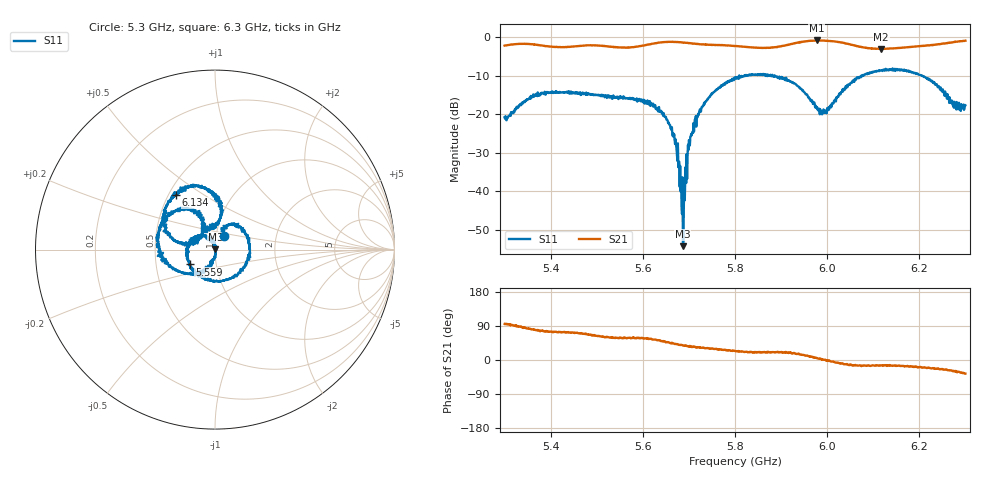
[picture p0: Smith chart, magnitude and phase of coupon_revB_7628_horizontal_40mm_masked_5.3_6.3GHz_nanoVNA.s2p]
! NanoVNA-App
! Date: 2026-11-01 22:13:03
! Start: 5,3GHz Stop: 6,3GHz Points: 1001
! S-Parameter data: F S11 S21 S12 S22
# Hz S RI R 50
!  Frequency  S11_Real  S11_Imag  S21_Real  S21_Imag  S12_Real  S12_Imag  S22_Real  S22_Imag
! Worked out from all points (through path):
!   1001 points, 5.3 GHz to 6.3 GHz, reference 50 ohm
!   highest |S21| = -0.79 dB at 5.977 GHz (marker M1); lowest = -3.0 dB at 6.117 GHz (marker M2)
!   group delay of S21, straight-line fit = 347 ps
!   lowest |S11| = -54.2 dB at 5.687 GHz (marker M3), VSWR 1.00, Z = 50.2 + j0.0853 ohm
!   |S11| at or under -10 dB: start of sweep to 5.809 GHz; 5.887 GHz to 6.075 GHz (188.1 MHz wide, 3.15 % of centre); 6.206 GHz to end of sweep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
!   S12 and S22 are empty: the file has one direction only
!   S11 on the Smith chart (normalised r, x): 5.3 GHz: 1.10, +0.17; 5.559 GHz: 0.74, -0.13; 6.134 GHz: 0.55, +0.39; 6.3 GHz: 0.86, +0.20
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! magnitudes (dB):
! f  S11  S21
! 5.3 GHz  -20.8  -2.1
! 5.367 GHz  -14.8  -1.9
! 5.467 GHz  -14.8  -2.2
! 5.559 GHz  -15.7  -2.6
! 5.634 GHz  -18.7  -1.4
! 5.668 GHz  -25.2  -1.2
! 5.687 GHz  -54.2  -1.3
! 5.692 GHz  -36.5  -1.4
! 5.695 GHz  -30.3  -1.4
! 5.702 GHz  -28.1  -1.5
! 5.718 GHz  -20.9  -1.7
! 5.752 GHz  -14.4  -2.0
! 5.8 GHz  -10.6  -2.2
! 5.906 GHz  -10.6  -2.1
! 5.967 GHz  -16.4  -0.8
! 5.977 GHz  -18.3  -0.8
! 5.994 GHz  -19.6  -0.8
! 6.06 GHz  -10.8  -2.1
! 6.117 GHz  -8.6  -3.0
! 6.134 GHz  -8.5  -2.9
! 6.209 GHz  -10.1  -2.2
! 6.3 GHz  -17.6  -0.9
